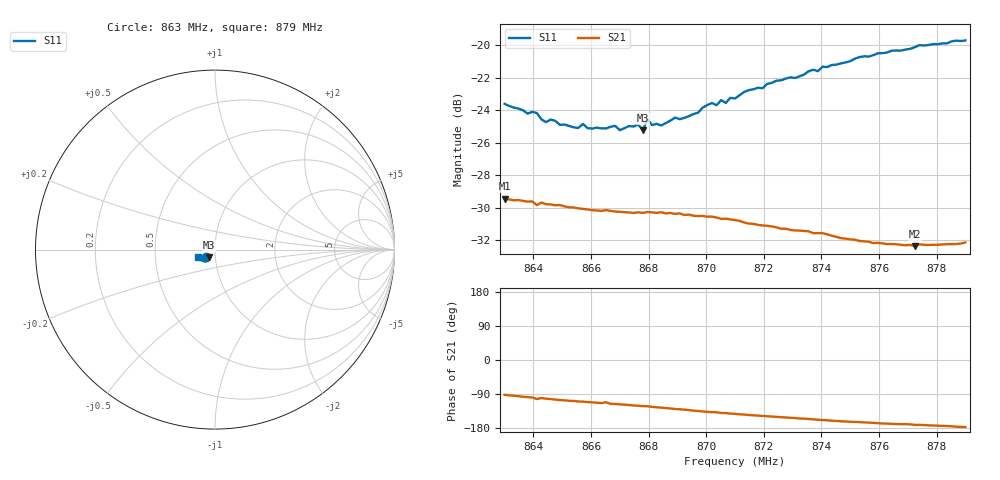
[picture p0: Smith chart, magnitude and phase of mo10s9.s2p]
# HZ S RI R 50
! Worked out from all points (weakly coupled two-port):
!   101 points, 863 MHz to 879 MHz, reference 50 ohm
!   highest |S21| = -29.45 dB at 863 MHz (marker M1); lowest = -32.4 dB at 877.24 MHz (marker M2)
!   lowest |S11| = -25.2 dB at 867.8 MHz (marker M3), VSWR 1.12, Z = 46.7 - j4.11 ohm
!   |S11| at or under -10 dB: start of sweep to end of sweep
!   S12 and S22 are empty: the file has one direction only
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8.63e8  -0.0522 -0.0403  -0.000991 -0.0337  0 0  0 0
8.6412e8  -0.0476 -0.0394  -0.00723 -0.0314  0 0  0 0
8.6444e8  -0.0436 -0.0382  -0.00678 -0.0317  0 0  0 0
8.646e8  -0.0439 -0.0394  -0.0073 -0.0315  0 0  0 0
8.6556e8  -0.0401 -0.0385  -0.0104 -0.0297  0 0  0 0
8.6572e8  -0.0391 -0.0418  -0.0107 -0.0295  0 0  0 0
8.6604e8  -0.0377 -0.0405  -0.0115 -0.0288  0 0  0 0
8.6684e8  -0.0361 -0.0434  -0.0135 -0.0276  0 0  0 0
8.67e8  -0.0357 -0.0415  -0.014 -0.0273  0 0  0 0
8.6764e8  -0.0347 -0.0452  -0.0156 -0.0263  0 0  0 0
8.678e8  -0.0326 -0.0439  -0.0159 -0.0259  0 0  0 0
8.6796e8  -0.0398 -0.0437  -0.0163 -0.026  0 0  0 0
8.6812e8  -0.0332 -0.046  -0.017 -0.0254  0 0  0 0
8.6844e8  -0.0319 -0.0467  -0.0178 -0.0249  0 0  0 0
8.6972e8  -0.0327 -0.0526  -0.0209 -0.0212  0 0  0 0
8.702e8  -0.0346 -0.0566  -0.0219 -0.0199  0 0  0 0
8.71e8  -0.0364 -0.058  -0.0228 -0.0178  0 0  0 0
8.7148e8  -0.0393 -0.0611  -0.0232 -0.0161  0 0  0 0
8.7372e8  -0.0526 -0.0654  -0.0242 -0.0105  0 0  0 0
8.7644e8  -0.076 -0.0589  -0.0239 -0.00489  0 0  0 0
8.7724e8  -0.0814 -0.0555  -0.0238 -0.0037  0 0  0 0
8.79e8  -0.0941 -0.0426  -0.0247 -0.0013  0 0  0 0
